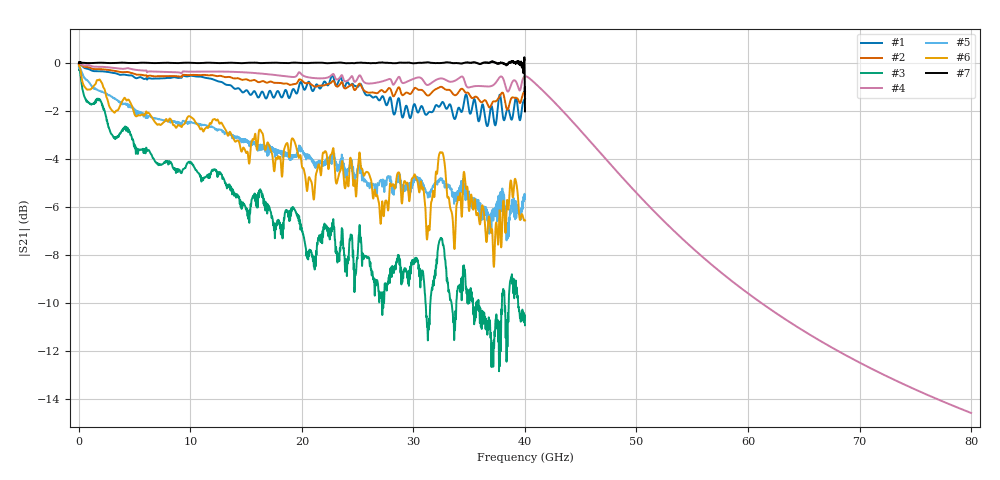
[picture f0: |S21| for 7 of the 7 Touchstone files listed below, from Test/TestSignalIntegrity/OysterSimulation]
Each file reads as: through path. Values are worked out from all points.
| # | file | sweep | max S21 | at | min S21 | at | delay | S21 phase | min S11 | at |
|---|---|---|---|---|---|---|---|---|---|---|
| 1 | CalThru.s2p | 5 MHz to 40 GHz | -0.05 dB | 5 MHz | -2.6 dB | 36.62 GHz | 815 ps | -89 deg at 20 GHz | -59.6 dB | 15.02 GHz |
| 2 | OysterFixtureOutput.s2p | 5 MHz to 40 GHz | -0.01 dB | 5 MHz | -1.9 dB | 38.42 GHz | 746 ps | 36 deg at 20 GHz | -57.5 dB | 12.71 GHz |
| 3 | OysterThru1.s2p | 5 MHz to 40 GHz | -0.16 dB | 5 MHz | -12.8 dB | 37.67 GHz | 7.59 ns | 84 deg at 20 GHz | -57.1 dB | 7.455 GHz |
| 4 | SemiRigidCable2.s2p | 10 MHz to 80 GHz | -0.04 dB | 140 MHz | -14.6 dB | 80 GHz | - | 108 deg at 40.01 GHz | -73.9 dB | 4.65 GHz |
| 5 | TestOysterTest_testOysterIdealThruRecovery_RawCalc.s2p | 5 MHz to 40 GHz | -0.11 dB | 5 MHz | -7.4 dB | 38.35 GHz | 5.99 ns | 105 deg at 20 GHz | -56.5 dB | 11.41 GHz |
| 6 | TestOysterTest_testOysterTwoPort_Thru.s2p | 5 MHz to 40 GHz | -0.09 dB | 5 MHz | -8.5 dB | 37.21 GHz | 2.42 ns | -112 deg at 20 GHz | -62.5 dB | 985 MHz |
| 7 | TestOysterTest_testZOysterMonteCarloThru_ThruCalc.s2p | 5 MHz to 40 GHz | 0.23 dB | 39.95 GHz | -2.0 dB | 40 GHz | - | -0 deg at 20 GHz | -79.0 dB | 25 MHz |
